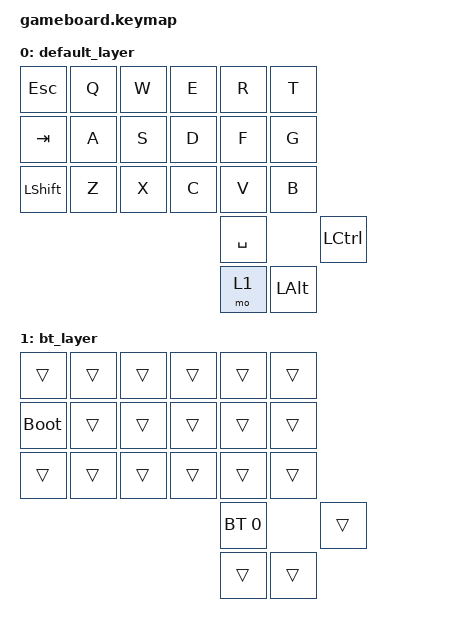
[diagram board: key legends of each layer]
#include <behaviors.dtsi>
#include <dt-bindings/zmk/keys.h>
#include <dt-bindings/zmk/bt.h>

/ {
    keymap {
        compatible = "zmk,keymap";

        default_layer {
            bindings = <
                &kp ESC   &kp Q  &kp W  &kp E  &kp R  &kp T
                &kp TAB     &kp A  &kp S  &kp D  &kp F  &kp G
                &kp LSHFT  &kp Z  &kp X  &kp C  &kp V &kp B
                                               &kp SPACE  &kp LCTRL
                                               &mo 1      &kp LALT
            >;
        };

        bt_layer {
            bindings = <
                &trans      &trans &trans   &trans &trans &trans
                &bootloader &trans &trans   &trans &trans &trans
                &trans      &trans &trans   &trans &trans &trans
                                                   &bt BT_SEL 0 &trans
                                                   &trans &trans
            >;
        };
    };
};
